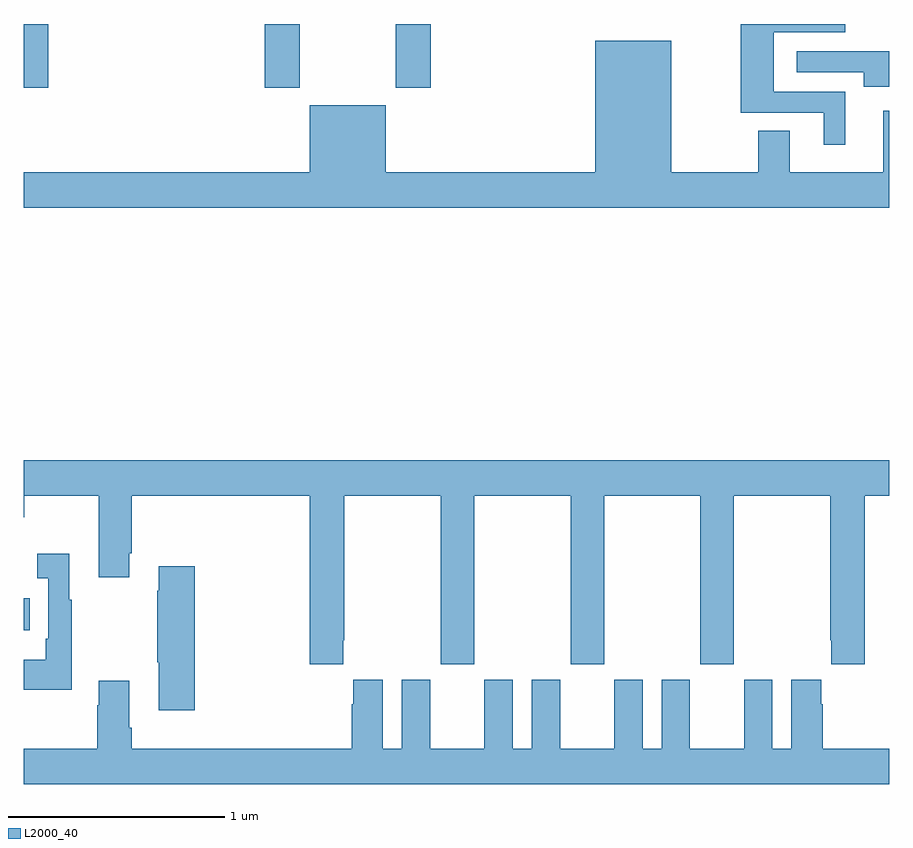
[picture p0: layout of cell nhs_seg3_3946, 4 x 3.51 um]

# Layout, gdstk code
import gdstk
lib = gdstk.Library(unit=1e-6, precision=1e-09)
def R(c, l, rs):  # rectangles x0, y0, x1, y1
    for r in rs: c.add(gdstk.rectangle(r[:2], r[2:], *l))
def P(c, l, *ps):  # polygons
    for p in ps: c.add(gdstk.Polygon(p, *l))
L2000_40 = (2000, 40)

nhs_seg3_3946 = lib.new_cell('nhs_seg3_3946')
R(nhs_seg3_3946, L2000_40, [(315,729.599,315.029,729.747), (315,732.105,315.113,732.4), (316.115,732.105,316.275,732.4), (316.72,732.105,316.88,732.4)])
P(nhs_seg3_3946, L2000_40, [(318.796,732.087),(318.466,732.087),(318.466,732.362),(318.796,732.362),(318.796,732.4),(318.313,732.4),(318.313,731.991),(318.698,731.991),(318.698,731.841),(318.796,731.841)],
  [(319,731.998),(318.971,731.998),(318.971,731.716),(318.541,731.716),(318.541,731.906),(318.394,731.906),(318.394,731.716),(317.992,731.716),(317.992,732.322),(317.642,732.322),(317.642,731.716),(316.672,731.716),(316.672,732.025),(316.322,732.025),(316.322,731.716),(315,731.716),(315,731.552),(319,731.552)],
  [(319,732.274),(318.885,732.274),(318.885,732.273),(318.573,732.273),(318.573,732.177),(318.881,732.177),(318.881,732.11),(319,732.11)],
  [(316.477,729.553),(316.482,729.553),(316.482,730.22),(316.927,730.22),(316.927,729.441),(317.082,729.441),(317.082,730.22),(317.527,730.22),(317.527,729.441),(317.682,729.441),(317.682,730.22),(318.127,730.22),(318.127,729.441),(318.282,729.441),(318.282,730.22),(318.727,730.22),(318.727,729.553),(318.731,729.553),(318.731,729.441),(318.887,729.441),(318.887,730.22),(319,730.22),(319,730.384),(315,730.384),(315,730.121),(315.003,730.121),(315.003,730.22),(315.347,730.22),(315.347,729.843),(315.487,729.843),(315.487,729.955),(315.5,729.955),(315.5,730.22),(316.322,730.22),(316.322,729.441),(316.477,729.441)],
  [(315.223,729.739),(315.211,729.739),(315.211,729.952),(315.063,729.952),(315.063,729.839),(315.114,729.839),(315.114,729.559),(315.102,729.559),(315.102,729.463),(315,729.463),(315,729.323),(315.223,729.323)],
  [(315.791,729.895),(315.623,729.895),(315.623,729.782),(315.616,729.782),(315.616,729.451),(315.623,729.451),(315.623,729.228),(315.791,729.228)],
  [(319,729.052),(318.692,729.052),(318.692,729.257),(318.685,729.257),(318.685,729.37),(318.548,729.37),(318.548,729.052),(318.46,729.052),(318.46,729.37),(318.329,729.37),(318.329,729.052),(318.079,729.052),(318.079,729.37),(317.948,729.37),(317.948,729.052),(317.86,729.052),(317.86,729.37),(317.729,729.37),(317.729,729.052),(317.479,729.052),(317.479,729.37),(317.348,729.37),(317.348,729.052),(317.26,729.052),(317.26,729.37),(317.129,729.37),(317.129,729.052),(316.879,729.052),(316.879,729.37),(316.748,729.37),(316.748,729.052),(316.66,729.052),(316.66,729.37),(316.523,729.37),(316.523,729.257),(316.517,729.257),(316.517,729.052),(315.5,729.052),(315.5,729.148),(315.487,729.148),(315.487,729.364),(315.347,729.364),(315.347,729.251),(315.34,729.251),(315.34,729.052),(315,729.052),(315,728.888),(319,728.888)])

lib.write_gds('nhs_seg3_3946.gds')
